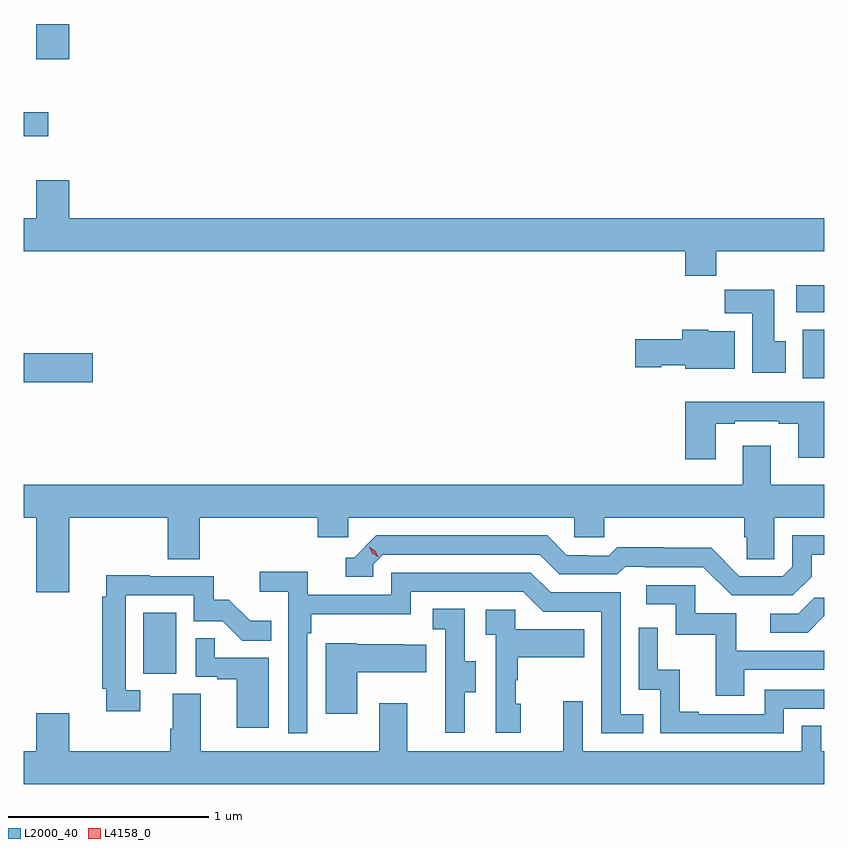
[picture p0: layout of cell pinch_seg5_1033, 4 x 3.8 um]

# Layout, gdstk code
import gdstk
lib = gdstk.Library(unit=1e-6, precision=1e-09)
def R(c, l, rs):  # rectangles x0, y0, x1, y1
    for r in rs: c.add(gdstk.rectangle(r[:2], r[2:], *l))
def P(c, l, *ps):  # polygons
    for p in ps: c.add(gdstk.Polygon(p, *l))
L2000_40 = (2000, 40)
L4158_0 = (4158, 0)

pinch_seg5_1033 = lib.new_cell('pinch_seg5_1033')
R(pinch_seg5_1033, L2000_40, [(848.858,857.31,849.022,857.617), (848.261,858.767,848.605,858.914), (852.155,858.788,852.261,859.03), (852.123,859.118,852.261,859.252), (848.261,859.997,848.383,860.119), (848.324,860.382,848.488,860.559)])
P(pinch_seg5_1033, L2000_40, [(851.723,859.424),(852.261,859.424),(852.261,859.588),(848.488,859.588),(848.488,859.777),(848.324,859.777),(848.324,859.588),(848.261,859.588),(848.261,859.424),(851.567,859.424),(851.567,859.3),(851.723,859.3)],
  [(852.07,858.972),(852.013,858.972),(852.013,859.231),(851.764,859.231),(851.764,859.112),(851.903,859.112),(851.903,858.816),(852.07,858.816)],
  [(851.815,859.024),(851.682,859.024),(851.682,859.03),(851.552,859.03),(851.552,858.984),(851.316,858.984),(851.316,858.842),(851.448,858.842),(851.448,858.854),(851.568,858.854),(851.568,858.836),(851.815,858.836)],
  [(851.719,858.561),(851.815,858.561),(851.815,858.573),(852.035,858.573),(852.035,858.561),(852.131,858.561),(852.131,858.392),(852.261,858.392),(852.261,858.67),(851.567,858.67),(851.567,858.384),(851.719,858.384)],
  [(848.488,858.092),(848.98,858.092),(848.98,857.884),(849.14,857.884),(849.14,858.092),(849.731,858.092),(849.731,857.994),(849.882,857.994),(849.882,858.092),(851.013,858.092),(851.013,857.994),(851.163,857.994),(851.163,858.092),(851.861,858.092),(851.861,857.994),(851.875,857.994),(851.875,857.884),(852.012,857.884),(852.012,858.092),(852.261,858.092),(852.261,858.256),(851.995,858.256),(851.995,858.451),(851.855,858.451),(851.855,858.256),(848.261,858.256),(848.261,858.092),(848.324,858.092),(848.324,857.718),(848.488,857.718)],
  [(852.199,857.797),(852.199,857.907),(852.261,857.907),(852.261,858.003),(852.102,858.003),(852.102,857.847),(852.054,857.799),(851.838,857.799),(851.696,857.941),(851.46,857.941),(851.46,857.944),(851.227,857.944),(851.185,857.901),(851.082,857.901),(851.082,857.904),(850.975,857.904),(850.876,858.003),(850.023,858.003),(849.912,857.892),(849.869,857.892),(849.869,857.796),(850.008,857.796),(850.008,857.859),(850.056,857.907),(850.839,857.907),(850.938,857.808),(851.227,857.808),(851.266,857.847),(851.365,857.847),(851.365,857.844),(851.658,857.844),(851.799,857.703),(852.105,857.703)],
  [(849.678,857.513),(849.698,857.513),(849.698,857.609),(850.194,857.609),(850.194,857.721),(850.758,857.721),(850.857,857.622),(851.148,857.622),(851.148,857.013),(851.357,857.013),(851.357,857.109),(851.244,857.109),(851.244,857.718),(850.894,857.718),(850.795,857.817),(850.098,857.817),(850.098,857.706),(849.68,857.706),(849.68,857.822),(849.441,857.822),(849.441,857.72),(849.582,857.72),(849.582,857.013),(849.678,857.013)],
  [(848.842,857.229),(848.769,857.229),(848.769,857.703),(849.111,857.703),(849.111,857.574),(849.255,857.574),(849.353,857.476),(849.497,857.476),(849.497,857.575),(849.393,857.575),(849.286,857.682),(849.21,857.682),(849.21,857.799),(848.891,857.799),(848.891,857.804),(848.672,857.804),(848.672,857.696),(848.653,857.696),(848.653,857.236),(848.672,857.236),(848.672,857.124),(848.842,857.124)],
  [(851.863,857.331),(852.261,857.331),(852.261,857.427),(851.821,857.427),(851.821,857.613),(851.616,857.613),(851.616,857.754),(851.373,857.754),(851.373,857.658),(851.52,857.658),(851.52,857.505),(851.719,857.505),(851.719,857.202),(851.863,857.202)],
  [(852.259,857.598),(852.261,857.598),(852.261,857.69),(852.212,857.69),(852.132,857.61),(851.991,857.61),(851.991,857.517),(852.178,857.517)],
  [(850.465,857.218),(850.519,857.218),(850.519,857.373),(850.464,857.373),(850.464,857.636),(850.305,857.636),(850.305,857.533),(850.368,857.533),(850.368,857.229),(850.367,857.229),(850.367,857.016),(850.465,857.016)],
  [(850.744,857.16),(850.719,857.16),(850.719,857.279),(850.729,857.279),(850.729,857.393),(851.063,857.393),(851.063,857.533),(850.716,857.533),(850.716,857.631),(850.569,857.631),(850.569,857.507),(850.62,857.507),(850.62,857.016),(850.744,857.016)],
  [(852.06,857.136),(852.261,857.136),(852.261,857.232),(851.964,857.232),(851.964,857.109),(851.635,857.109),(851.635,857.122),(851.54,857.122),(851.54,857.33),(851.43,857.33),(851.43,857.542),(851.334,857.542),(851.334,857.232),(851.442,857.232),(851.442,857.013),(852.06,857.013)],
  [(849.484,857.391),(849.215,857.391),(849.215,857.489),(849.12,857.489),(849.12,857.295),(849.227,857.295),(849.227,857.283),(849.326,857.283),(849.326,857.04),(849.484,857.04)],
  [(849.928,857.318),(850.271,857.318),(850.271,857.455),(850.163,857.455),(850.163,857.458),(849.924,857.458),(849.924,857.464),(849.77,857.464),(849.77,857.112),(849.928,857.112)],
  [(852.261,856.924),(852.246,856.924),(852.246,857.051),(852.15,857.051),(852.15,856.924),(851.055,856.924),(851.055,857.173),(850.958,857.173),(850.958,856.924),(850.177,856.924),(850.177,857.164),(850.037,857.164),(850.037,856.924),(849.145,856.924),(849.145,857.21),(849.005,857.21),(849.005,857.036),(848.993,857.036),(848.993,856.924),(848.488,856.924),(848.488,857.113),(848.324,857.113),(848.324,856.924),(848.261,856.924),(848.261,856.76),(852.261,856.76)])
P(pinch_seg5_1033, L4158_0, [(850.033,857.894),(850.003,857.914),(849.987,857.947),(849.987,857.947),(849.988,857.947),(850.018,857.927),(850.033,857.895),(850.033,857.894)])

lib.write_gds('pinch_seg5_1033.gds')
